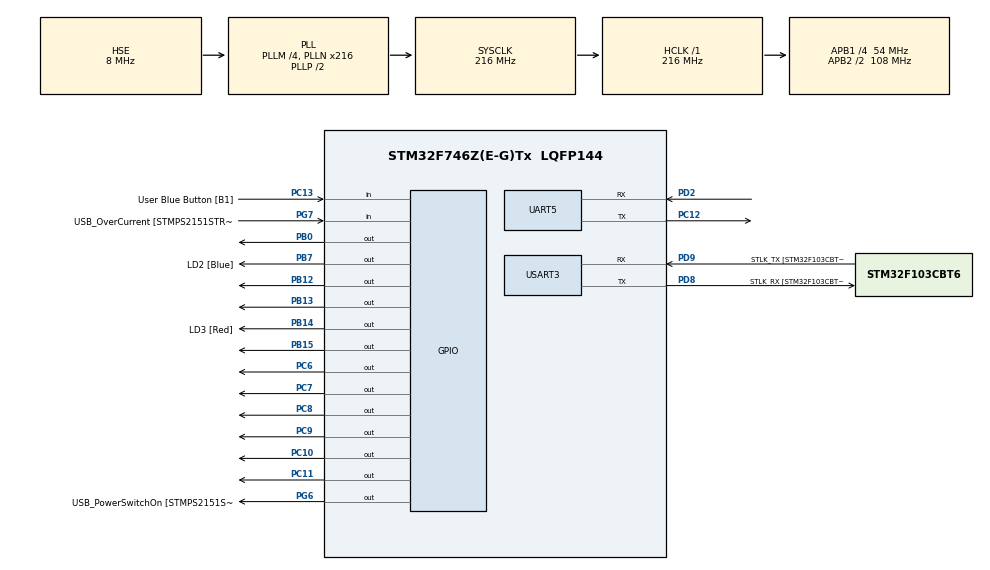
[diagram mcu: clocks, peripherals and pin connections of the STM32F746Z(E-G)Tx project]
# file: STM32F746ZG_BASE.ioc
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CORTEX_M7.ART_ACCLERATOR_ENABLE=1
CORTEX_M7.CPU_DCache=Disabled
CORTEX_M7.CPU_ICache=Disabled
Mcu.Family=STM32F7
Mcu.Name=STM32F746Z(E-G)Tx
Mcu.Package=LQFP144
NVIC.PriorityGroup=NVIC_PRIORITYGROUP_4
NVIC.RCC_IRQn=true\:0\:0\:false\:false\:true
NVIC.TIM3_IRQn=true\:0\:0\:false\:false\:true
NVIC.TIM4_IRQn=true\:0\:0\:false\:false\:true
NVIC.TIM5_IRQn=true\:0\:0\:false\:false\:true
NVIC.UART5_IRQn=true\:0\:0\:false\:false\:true
NVIC.USART3_IRQn=true\:0\:0\:false\:false\:true
PA1.GPIO_Label=RMII_REF_CK [LAN8742A-CZ-TR_REFCLK0]
PA1.Signal=ETH_REF_CLK
PA10.GPIO_Label=USB_ID
PA10.Signal=USB_OTG_FS_ID
PA11.GPIO_Label=USB_DM
PA11.Signal=USB_OTG_FS_DM
PA12.GPIO_Label=USB_DP
PA12.Signal=USB_OTG_FS_DP
PA13.GPIO_Label=TMS
PA13.Signal=SYS_JTMS-SWDIO
PA14.GPIO_Label=TCK
PA14.Signal=SYS_JTCK-SWCLK
PA2.GPIO_Label=RMII_MDIO [LAN8742A-CZ-TR_MDIO]
PA2.Signal=ETH_MDIO
PA7.GPIO_Label=RMII_CRS_DV [LAN8742A-CZ-TR_CRS_DV]
PA7.Signal=ETH_CRS_DV
PA8.GPIO_Label=USB_SOF [TP1]
PA8.Signal=USB_OTG_FS_SOF
PA9.GPIO_Label=USB_VBUS
PA9.Signal=USB_OTG_FS_VBUS
PB0.Signal=GPIO_Output
PB12.Signal=GPIO_Output
PB13.Signal=GPIO_Output
PB14.GPIO_Label=LD3 [Red]
PB14.Signal=GPIO_Output
PB15.Signal=GPIO_Output
PB3.GPIO_Label=SW0
PB3.Signal=SYS_JTDO-SWO
PB7.GPIO_Label=LD2 [Blue]
PB7.Signal=GPIO_Output
PC1.GPIO_Label=RMII_MDC [LAN8742A-CZ-TR_MDC]
PC1.Signal=ETH_MDC
PC10.Signal=GPIO_Output
PC11.Signal=GPIO_Output
PC12.Mode=Asynchronous
PC12.Signal=UART5_TX
PC13.GPIO_Label=User Blue Button [B1]
PC13.Signal=GPIO_Input
PC14/OSC32_IN.Mode=LSE-External-Oscillator
PC14/OSC32_IN.Signal=RCC_OSC32_IN
PC15/OSC32_OUT.Mode=LSE-External-Oscillator
PC15/OSC32_OUT.Signal=RCC_OSC32_OUT
PC4.GPIO_Label=RMII_RXD0 [LAN8742A-CZ-TR_RXD0]
PC4.Signal=ETH_RXD0
PC5.GPIO_Label=RMII_RXD1 [LAN8742A-CZ-TR_RXD1]
PC5.Signal=ETH_RXD1
PC6.Signal=GPIO_Output
PC7.Signal=GPIO_Output
PC8.Signal=GPIO_Output
PC9.Signal=GPIO_Output
PD2.Mode=Asynchronous
PD2.Signal=UART5_RX
PD8.GPIO_Label=STLK_RX [STM32F103CBT6_PA3]
PD8.Mode=Asynchronous
PD8.Signal=USART3_TX
PD9.GPIO_Label=STLK_TX [STM32F103CBT6_PA2]
PD9.Mode=Asynchronous
PD9.Signal=USART3_RX
PG11.GPIO_Label=RMII_TX_EN [LAN8742A-CZ-TR_TXEN]
PG11.Signal=ETH_TX_EN
PG13.GPIO_Label=RMII_TXD0 [LAN8742A-CZ-TR_TXD0]
PG13.Signal=ETH_TXD0
PG6.GPIO_Label=USB_PowerSwitchOn [STMPS2151STR_EN]
PG6.Signal=GPIO_Output
PG7.GPIO_Label=USB_OverCurrent [STMPS2151STR_FAULT]
PG7.Signal=GPIO_Input
PH0/OSC_IN.GPIO_Label=MCO [STM32F103CBT6_PA8]
PH0/OSC_IN.Mode=HSE-External-Oscillator
PH0/OSC_IN.Signal=RCC_OSC_IN
PH1/OSC_OUT.Mode=HSE-External-Oscillator
PH1/OSC_OUT.Signal=RCC_OSC_OUT
ProjectManager.HeapSize=0x200
ProjectManager.StackSize=0x400
ProjectManager.TargetToolchain=TrueSTUDIO
RCC.48MHZClocksFreq_Value=24000000
RCC.AHBFreq_Value=216000000
RCC.APB1CLKDivider=RCC_HCLK_DIV4
RCC.APB1Freq_Value=54000000
RCC.APB1TimFreq_Value=108000000
RCC.APB2CLKDivider=RCC_HCLK_DIV2
RCC.APB2Freq_Value=108000000
RCC.APB2TimFreq_Value=216000000
RCC.CortexFreq_Value=216000000
RCC.HCLKFreq_Value=216000000
RCC.HSE_VALUE=8000000
RCC.HSI_VALUE=8000000
RCC.PLLM=4
RCC.PLLMUL=RCC_PLL_MUL9
RCC.PLLN=216
RCC.PLLSourceVirtual=RCC_PLLSOURCE_HSE
RCC.PRESCALERUSB=RCC_USBCLKSOURCE_PLL_DIV1_5
RCC.SYSCLKFreq_VALUE=216000000
RCC.SYSCLKSource=RCC_SYSCLKSOURCE_PLLCLK
RCC.SYSCLKSourceVirtual=RCC_SYSCLKSOURCE_PLLCLK
RCC.USBFreq_Value=216000000
RCC.VCOOutputFreq_Value=432000000
TIM3.ClockDivision=TIM_CLOCKDIVISION_DIV1
TIM3.Period=9999
TIM3.Prescaler=10800
TIM4.Period=4999
TIM4.Prescaler=10800
TIM5.Period=2499
TIM5.Prescaler=10800
UART5.WordLength=UART_WORDLENGTH_8B
USART3.WordLength=UART_WORDLENGTH_8B
VP_TIM3_VS_ClockSourceINT.Mode=Internal
VP_TIM4_VS_ClockSourceINT.Mode=Internal
VP_TIM5_VS_ClockSourceINT.Mode=Internal
board=NUCLEO-F746ZG

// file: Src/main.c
/**
  ******************************************************************************
  * File Name          : main.c
  * Description        : Main program body
  ******************************************************************************
  *
  * COPYRIGHT(c) 2016 STMicroelectronics
  *
  * Redistribution and use in source and binary forms, with or without modification,
  * are permitted provided that the following conditions are met:
  *   1. Redistributions of source code must retain the above copyright notice,
  *      this list of conditions and the following disclaimer.
  *   2. Redistributions in binary form must reproduce the above copyright notice,
  *      this list of conditions and the following disclaimer in the documentation
  *      and/or other materials provided with the distribution.
  *   3. Neither the name of STMicroelectronics nor the names of its contributors
  *      may be used to endorse or promote products derived from this software
  *      without specific prior written permission.
  *
  * THIS SOFTWARE IS PROVIDED BY THE COPYRIGHT HOLDERS AND CONTRIBUTORS "AS IS"
  * AND ANY EXPRESS OR IMPLIED WARRANTIES, INCLUDING, BUT NOT LIMITED TO, THE
  * IMPLIED WARRANTIES OF MERCHANTABILITY AND FITNESS FOR A PARTICULAR PURPOSE ARE
  * DISCLAIMED. IN NO EVENT SHALL THE COPYRIGHT HOLDER OR CONTRIBUTORS BE LIABLE
  * FOR ANY DIRECT, INDIRECT, INCIDENTAL, SPECIAL, EXEMPLARY, OR CONSEQUENTIAL
  * DAMAGES (INCLUDING, BUT NOT LIMITED TO, PROCUREMENT OF SUBSTITUTE GOODS OR
  * SERVICES; LOSS OF USE, DATA, OR PROFITS; OR BUSINESS INTERRUPTION) HOWEVER
  * CAUSED AND ON ANY THEORY OF LIABILITY, WHETHER IN CONTRACT, STRICT LIABILITY,
  * OR TORT (INCLUDING NEGLIGENCE OR OTHERWISE) ARISING IN ANY WAY OUT OF THE USE
  * OF THIS SOFTWARE, EVEN IF ADVISED OF THE POSSIBILITY OF SUCH DAMAGE.
  *
  ******************************************************************************
  */
#include "stm32f7xx_hal.h"

/* USER CODE BEGIN Includes */
#include <stdio.h>
#include <math.h>
#include "tlcd.h"
/* USER CODE END Includes */

TIM_HandleTypeDef htim3;
TIM_HandleTypeDef htim4;
TIM_HandleTypeDef htim5;

UART_HandleTypeDef huart5;
UART_HandleTypeDef huart3;

/* USER CODE BEGIN PV */
/* Private variables ---------------------------------------------------------*/
#define DATA  10
#define PI 	  3.141592
uint8_t Rx_Buffer3[DATA];
uint8_t Rx_Buffer4[DATA];
uint8_t Rx_Buffer5[DATA];

uint8_t Rx_Data3[2];
uint8_t Rx_Data4[2];
uint8_t Rx_Data5[2];

uint8_t Rx_Indx3;
uint8_t Rx_Indx4;
uint8_t Rx_Indx5;

uint8_t Transfer_cplt3;
uint8_t Transfer_cplt4;
uint8_t Transfer_cplt5;

/* USER CODE END PV */

void SystemClock_Config(void);
static void MX_GPIO_Init(void);
static void MX_TIM3_Init(void);
static void MX_TIM4_Init(void);
static void MX_TIM5_Init(void);
static void MX_UART5_Init(void);
static void MX_USART3_UART_Init(void);

/* USER CODE BEGIN PFP */
/* Private function prototypes -----------------------------------------------*/
void 		HAL_TIM_PeriodElapsedCallback(TIM_HandleTypeDef *htim);
void 		HAL_UART_RxCpltCallback(UART_HandleTypeDef *huart);

/* USER CODE END PFP */

/* USER CODE BEGIN 0 */
void HAL_TIM_PeriodElapsedCallback(TIM_HandleTypeDef *htim)
{
	static int	n=0;
	char s[20];

	if(htim->Instance==TIM3) {
		HAL_GPIO_TogglePin(GPIOB,  GPIO_PIN_15 | GPIO_PIN_0);
	    sprintf(s,"%3d : %10.5lf\r\n",n,sin(n*PI/180));
		HAL_UART_Transmit(&huart3, (uint8_t *)s,18 ,1000);
	}
	else if(htim->Instance==TIM4) {
		HAL_GPIO_TogglePin(GPIOB,  LD2_Pin | GPIO_PIN_13);
	    sprintf(s,"%3d : %10.5lf\r\n",n,cos(n*PI/180));
		HAL_UART_Transmit(&huart3, (uint8_t *)s,18 ,1000);
	}
	else if(htim->Instance==TIM5) {
		HAL_GPIO_TogglePin(GPIOB,  LD3_Pin | GPIO_PIN_12);
	    sprintf(s,"%3d : %10.5lf\r\n",n,exp(n*PI/180));
		HAL_UART_Transmit(&huart3, (uint8_t *)s,18 ,1000);
	}
	if(++n==91) n = 0;

}

void HAL_UART_RxCpltCallback(UART_HandleTypeDef *huart)
{
	uint8_t	i;

	if(huart->Instance==USART3)
	{
		if(Rx_Indx3==0)
		{
			for(i=0;i<DATA;i++) Rx_Buffer3[i] = 0;
		}
		if(Rx_Data3[0]!=0x0d)
		{
			Rx_Buffer3[Rx_Indx3++]=Rx_Data3[0];
		}
		else
		{
			Rx_Indx3 = 0;
			Transfer_cplt3 = 1;
		}
		HAL_UART_Receive_IT(&huart3, Rx_Data3, 1);
		HAL_UART_Transmit(&huart3, Rx_Data3, 1,1000);
	}
	/* else if(huart->Instance==UART4)
	{
		if(Rx_Indx4==0)
		{
			for(i=0;i<DATA;i++) Rx_Buffer4[i] = 0;
		}
		if(Rx_Data4[0]!=0x0d)
		{
			Rx_Buffer4[Rx_Indx4++]=Rx_Data4[0];
		}
		else
		{
			Rx_Indx4 = 0;
			Transfer_cplt4 = 1;
		}
		HAL_UART_Receive_IT(&huart4, Rx_Data4, 1);
		HAL_UART_Transmit(&huart4, Rx_Data4, 1,1000);
	} */
	else if(huart->Instance==UART5)
	{
		if(Rx_Indx5==0)
		{
			for(i=0;i<DATA;i++) Rx_Buffer5[i] = 0;
		}
		if(Rx_Data5[0]!=0x0d)
		{
			Rx_Buffer5[Rx_Indx5++]=Rx_Data5[0];
		}
		else
		{
			Rx_Indx5 = 0;
			Transfer_cplt5 = 1;
		}
		HAL_UART_Receive_IT(&huart5, Rx_Data5, 1);
		HAL_UART_Transmit(&huart5, Rx_Data5, 1,1000);
	}
}

/* USER CODE END 0 */

int main(void)
{

  /* MCU Configuration----------------------------------------------------------*/

  /* Reset of all peripherals, Initializes the Flash interface and the Systick. */
  HAL_Init();

  /* Configure the system clock */
  SystemClock_Config();

  /* Initialize all configured peripherals */
  MX_GPIO_Init();
  MX_TIM3_Init();
  MX_TIM4_Init();
  MX_TIM5_Init();
  MX_UART5_Init();
  MX_USART3_UART_Init();

  /* USER CODE BEGIN 2 */
	while(HAL_TIM_Base_Start_IT(&htim3)!=HAL_OK);
	while(HAL_TIM_Base_Start_IT(&htim4)!=HAL_OK);
	while(HAL_TIM_Base_Start_IT(&htim5)!=HAL_OK);

	while(HAL_UART_Receive_IT(&huart3, Rx_Data3, 1)!=HAL_OK);
	while(HAL_UART_Receive_IT(&huart5, Rx_Data5, 1)!=HAL_OK);

	HAL_UART_Transmit(&huart3, (uint8_t *)"Cortex-M7\r\n", 11,1000);

	//TLCD_Init(GPIO_PIN_6,GPIO_PIN_7,GPIO_PIN_8,GPIO_PIN_9,GPIO_PIN_10,GPIO_PIN_11);
	//TLCD_Puts(1,"1234567890");
	//TLCD_Puts(2,"ABCDEFGHIJ");

  /* USER CODE END 2 */

  /* Infinite loop */
  while (1)
  {

  /* USER CODE BEGIN 3 */
		HAL_UART_Transmit(&huart3, (uint8_t *)"Cortex-M7\r\n", 11,1000);

//		HAL_GPIO_TogglePin(GPIOB, LD2_Pin | LD3_Pin );
		HAL_Delay(500000);
  }
  /* USER CODE END 3 */

}

/** System Clock Configuration
*/
void SystemClock_Config(void)
{

  RCC_OscInitTypeDef RCC_OscInitStruct;
  RCC_ClkInitTypeDef RCC_ClkInitStruct;
  RCC_PeriphCLKInitTypeDef PeriphClkInitStruct;

  __HAL_RCC_PWR_CLK_ENABLE();

  __HAL_PWR_VOLTAGESCALING_CONFIG(PWR_REGULATOR_VOLTAGE_SCALE1);

  RCC_OscInitStruct.OscillatorType = RCC_OSCILLATORTYPE_HSE;
  RCC_OscInitStruct.HSEState = RCC_HSE_ON;
  RCC_OscInitStruct.PLL.PLLState = RCC_PLL_ON;
  RCC_OscInitStruct.PLL.PLLSource = RCC_PLLSOURCE_HSE;
  RCC_OscInitStruct.PLL.PLLM = 4;
  RCC_OscInitStruct.PLL.PLLN = 216;
  RCC_OscInitStruct.PLL.PLLP = RCC_PLLP_DIV2;
  RCC_OscInitStruct.PLL.PLLQ = 2;
  HAL_RCC_OscConfig(&RCC_OscInitStruct);

  HAL_PWREx_EnableOverDrive();

  RCC_ClkInitStruct.ClockType = RCC_CLOCKTYPE_HCLK|RCC_CLOCKTYPE_SYSCLK
                              |RCC_CLOCKTYPE_PCLK1|RCC_CLOCKTYPE_PCLK2;
  RCC_ClkInitStruct.SYSCLKSource = RCC_SYSCLKSOURCE_PLLCLK;
  RCC_ClkInitStruct.AHBCLKDivider = RCC_SYSCLK_DIV1;
  RCC_ClkInitStruct.APB1CLKDivider = RCC_HCLK_DIV4;
  RCC_ClkInitStruct.APB2CLKDivider = RCC_HCLK_DIV2;
  HAL_RCC_ClockConfig(&RCC_ClkInitStruct, FLASH_LATENCY_7);

  PeriphClkInitStruct.PeriphClockSelection = RCC_PERIPHCLK_USART3|RCC_PERIPHCLK_UART5;
  PeriphClkInitStruct.Usart3ClockSelection = RCC_USART3CLKSOURCE_PCLK1;
  PeriphClkInitStruct.Uart5ClockSelection = RCC_UART5CLKSOURCE_PCLK1;
  HAL_RCCEx_PeriphCLKConfig(&PeriphClkInitStruct);

  HAL_SYSTICK_Config(HAL_RCC_GetHCLKFreq()/1000);

  HAL_SYSTICK_CLKSourceConfig(SYSTICK_CLKSOURCE_HCLK);

  /* SysTick_IRQn interrupt configuration */
  HAL_NVIC_SetPriority(SysTick_IRQn, 0, 0);
}

/* TIM3 init function */
void MX_TIM3_Init(void)
{

  TIM_ClockConfigTypeDef sClockSourceConfig;
  TIM_MasterConfigTypeDef sMasterConfig;

  htim3.Instance = TIM3;
  htim3.Init.Prescaler = 10800;
  htim3.Init.CounterMode = TIM_COUNTERMODE_UP;
  htim3.Init.Period = 9999;
  htim3.Init.ClockDivision = TIM_CLOCKDIVISION_DIV1;
  HAL_TIM_Base_Init(&htim3);

  sClockSourceConfig.ClockSource = TIM_CLOCKSOURCE_INTERNAL;
  HAL_TIM_ConfigClockSource(&htim3, &sClockSourceConfig);

  sMasterConfig.MasterOutputTrigger = TIM_TRGO_RESET;
  sMasterConfig.MasterSlaveMode = TIM_MASTERSLAVEMODE_DISABLE;
  HAL_TIMEx_MasterConfigSynchronization(&htim3, &sMasterConfig);

}

/* TIM4 init function */
void MX_TIM4_Init(void)
{

  TIM_ClockConfigTypeDef sClockSourceConfig;
  TIM_MasterConfigTypeDef sMasterConfig;

  htim4.Instance = TIM4;
  htim4.Init.Prescaler = 10800;
  htim4.Init.CounterMode = TIM_COUNTERMODE_UP;
  htim4.Init.Period = 4999;
  htim4.Init.ClockDivision = TIM_CLOCKDIVISION_DIV1;
  HAL_TIM_Base_Init(&htim4);

  sClockSourceConfig.ClockSource = TIM_CLOCKSOURCE_INTERNAL;
  HAL_TIM_ConfigClockSource(&htim4, &sClockSourceConfig);

  sMasterConfig.MasterOutputTrigger = TIM_TRGO_RESET;
  sMasterConfig.MasterSlaveMode = TIM_MASTERSLAVEMODE_DISABLE;
  HAL_TIMEx_MasterConfigSynchronization(&htim4, &sMasterConfig);

}

/* TIM5 init function */
void MX_TIM5_Init(void)
{

  TIM_ClockConfigTypeDef sClockSourceConfig;
  TIM_MasterConfigTypeDef sMasterConfig;

  htim5.Instance = TIM5;
  htim5.Init.Prescaler = 10800;
  htim5.Init.CounterMode = TIM_COUNTERMODE_UP;
  htim5.Init.Period = 2499;
  htim5.Init.ClockDivision = TIM_CLOCKDIVISION_DIV1;
  HAL_TIM_Base_Init(&htim5);

  sClockSourceConfig.ClockSource = TIM_CLOCKSOURCE_INTERNAL;
  HAL_TIM_ConfigClockSource(&htim5, &sClockSourceConfig);

  sMasterConfig.MasterOutputTrigger = TIM_TRGO_RESET;
  sMasterConfig.MasterSlaveMode = TIM_MASTERSLAVEMODE_DISABLE;
  HAL_TIMEx_MasterConfigSynchronization(&htim5, &sMasterConfig);

}

/* UART5 init function */
void MX_UART5_Init(void)
{

  huart5.Instance = UART5;
  huart5.Init.BaudRate = 115200;
  huart5.Init.WordLength = UART_WORDLENGTH_8B;
  huart5.Init.StopBits = UART_STOPBITS_1;
  huart5.Init.Parity = UART_PARITY_NONE;
  huart5.Init.Mode = UART_MODE_TX_RX;
  huart5.Init.HwFlowCtl = UART_HWCONTROL_NONE;
  huart5.Init.OverSampling = UART_OVERSAMPLING_16;
  huart5.Init.OneBitSampling = UART_ONE_BIT_SAMPLE_DISABLE;
  huart5.AdvancedInit.AdvFeatureInit = UART_ADVFEATURE_NO_INIT;
  HAL_UART_Init(&huart5);

}

/* USART3 init function */
void MX_USART3_UART_Init(void)
{

  huart3.Instance = USART3;
  huart3.Init.BaudRate = 115200;
  huart3.Init.WordLength = UART_WORDLENGTH_8B;
  huart3.Init.StopBits = UART_STOPBITS_1;
  huart3.Init.Parity = UART_PARITY_NONE;
  huart3.Init.Mode = UART_MODE_TX_RX;
  huart3.Init.HwFlowCtl = UART_HWCONTROL_NONE;
  huart3.Init.OverSampling = UART_OVERSAMPLING_16;
  huart3.Init.OneBitSampling = UART_ONE_BIT_SAMPLE_DISABLE;
  huart3.AdvancedInit.AdvFeatureInit = UART_ADVFEATURE_NO_INIT;
  HAL_UART_Init(&huart3);

}

/** Configure pins as
        * Analog
        * Input
        * Output
        * EVENT_OUT
        * EXTI
     PC1   ------> ETH_MDC
     PA1   ------> ETH_REF_CLK
     PA2   ------> ETH_MDIO
     PA7   ------> ETH_CRS_DV
     PC4   ------> ETH_RXD0
     PC5   ------> ETH_RXD1
     PA8   ------> USB_OTG_FS_SOF
     PA10   ------> USB_OTG_FS_ID
     PA11   ------> USB_OTG_FS_DM
     PA12   ------> USB_OTG_FS_DP
     PG11   ------> ETH_TX_EN
     PG13   ------> ETH_TXD0
*/
void MX_GPIO_Init(void)
{

  GPIO_InitTypeDef GPIO_InitStruct;

  /* GPIO Ports Clock Enable */
  __HAL_RCC_GPIOC_CLK_ENABLE();
  __HAL_RCC_GPIOH_CLK_ENABLE();
  __HAL_RCC_GPIOA_CLK_ENABLE();
  __HAL_RCC_GPIOB_CLK_ENABLE();
  __HAL_RCC_GPIOD_CLK_ENABLE();
  __HAL_RCC_GPIOG_CLK_ENABLE();

  /*Configure GPIO pin : User_Blue_Button_Pin */
  GPIO_InitStruct.Pin = User_Blue_Button_Pin;
  GPIO_InitStruct.Mode = GPIO_MODE_INPUT;
  GPIO_InitStruct.Pull = GPIO_NOPULL;
  HAL_GPIO_Init(User_Blue_Button_GPIO_Port, &GPIO_InitStruct);

  /*Configure GPIO pins : RMII_MDC_Pin RMII_RXD0_Pin RMII_RXD1_Pin */
  GPIO_InitStruct.Pin = RMII_MDC_Pin|RMII_RXD0_Pin|RMII_RXD1_Pin;
  GPIO_InitStruct.Mode = GPIO_MODE_AF_PP;
  GPIO_InitStruct.Pull = GPIO_NOPULL;
  GPIO_InitStruct.Speed = GPIO_SPEED_FREQ_VERY_HIGH;
  GPIO_InitStruct.Alternate = GPIO_AF11_ETH;
  HAL_GPIO_Init(GPIOC, &GPIO_InitStruct);

  /*Configure GPIO pins : RMII_REF_CK_Pin RMII_MDIO_Pin RMII_CRS_DV_Pin */
  GPIO_InitStruct.Pin = RMII_REF_CK_Pin|RMII_MDIO_Pin|RMII_CRS_DV_Pin;
  GPIO_InitStruct.Mode = GPIO_MODE_AF_PP;
  GPIO_InitStruct.Pull = GPIO_NOPULL;
  GPIO_InitStruct.Speed = GPIO_SPEED_FREQ_VERY_HIGH;
  GPIO_InitStruct.Alternate = GPIO_AF11_ETH;
  HAL_GPIO_Init(GPIOA, &GPIO_InitStruct);

  /*Configure GPIO pins : PB0 PB12 PB13 LD3_Pin
                           PB15 LD2_Pin */
  GPIO_InitStruct.Pin = GPIO_PIN_0|GPIO_PIN_12|GPIO_PIN_13|LD3_Pin
                          |GPIO_PIN_15|LD2_Pin;
  GPIO_InitStruct.Mode = GPIO_MODE_OUTPUT_PP;
  GPIO_InitStruct.Pull = GPIO_NOPULL;
  GPIO_InitStruct.Speed = GPIO_SPEED_FREQ_LOW;
  HAL_GPIO_Init(GPIOB, &GPIO_InitStruct);

  /*Configure GPIO pin : USB_PowerSwitchOn_Pin */
  GPIO_InitStruct.Pin = USB_PowerSwitchOn_Pin;
  GPIO_InitStruct.Mode = GPIO_MODE_OUTPUT_PP;
  GPIO_InitStruct.Pull = GPIO_NOPULL;
  GPIO_InitStruct.Speed = GPIO_SPEED_FREQ_LOW;
  HAL_GPIO_Init(USB_PowerSwitchOn_GPIO_Port, &GPIO_InitStruct);

  /*Configure GPIO pin : USB_OverCurrent_Pin */
  GPIO_InitStruct.Pin = USB_OverCurrent_Pin;
  GPIO_InitStruct.Mode = GPIO_MODE_INPUT;
  GPIO_InitStruct.Pull = GPIO_NOPULL;
  HAL_GPIO_Init(USB_OverCurrent_GPIO_Port, &GPIO_InitStruct);

  /*Configure GPIO pins : PC6 PC7 PC8 PC9
                           PC10 PC11 */
  GPIO_InitStruct.Pin = GPIO_PIN_6|GPIO_PIN_7|GPIO_PIN_8|GPIO_PIN_9
                          |GPIO_PIN_10|GPIO_PIN_11;
  GPIO_InitStruct.Mode = GPIO_MODE_OUTPUT_PP;
  GPIO_InitStruct.Pull = GPIO_NOPULL;
  GPIO_InitStruct.Speed = GPIO_SPEED_FREQ_LOW;
  HAL_GPIO_Init(GPIOC, &GPIO_InitStruct);

  /*Configure GPIO pins : USB_SOF_Pin USB_ID_Pin USB_DM_Pin USB_DP_Pin */
  GPIO_InitStruct.Pin = USB_SOF_Pin|USB_ID_Pin|USB_DM_Pin|USB_DP_Pin;
  GPIO_InitStruct.Mode = GPIO_MODE_AF_PP;
  GPIO_InitStruct.Pull = GPIO_NOPULL;
  GPIO_InitStruct.Speed = GPIO_SPEED_FREQ_VERY_HIGH;
  GPIO_InitStruct.Alternate = GPIO_AF10_OTG_FS;
  HAL_GPIO_Init(GPIOA, &GPIO_InitStruct);

  /*Configure GPIO pins : RMII_TX_EN_Pin RMII_TXD0_Pin */
  GPIO_InitStruct.Pin = RMII_TX_EN_Pin|RMII_TXD0_Pin;
  GPIO_InitStruct.Mode = GPIO_MODE_AF_PP;
  GPIO_InitStruct.Pull = GPIO_NOPULL;
  GPIO_InitStruct.Speed = GPIO_SPEED_FREQ_VERY_HIGH;
  GPIO_InitStruct.Alternate = GPIO_AF11_ETH;
  HAL_GPIO_Init(GPIOG, &GPIO_InitStruct);

  /*Configure GPIO pin Output Level */
  HAL_GPIO_WritePin(GPIOB, GPIO_PIN_0|GPIO_PIN_12|GPIO_PIN_13|LD3_Pin
                          |GPIO_PIN_15|LD2_Pin, GPIO_PIN_RESET);

  /*Configure GPIO pin Output Level */
  HAL_GPIO_WritePin(USB_PowerSwitchOn_GPIO_Port, USB_PowerSwitchOn_Pin, GPIO_PIN_RESET);

  /*Configure GPIO pin Output Level */
  HAL_GPIO_WritePin(GPIOC, GPIO_PIN_6|GPIO_PIN_7|GPIO_PIN_8|GPIO_PIN_9
                          |GPIO_PIN_10|GPIO_PIN_11, GPIO_PIN_RESET);

}

/************************ (C) COPYRIGHT STMicroelectronics *****END OF FILE****/
